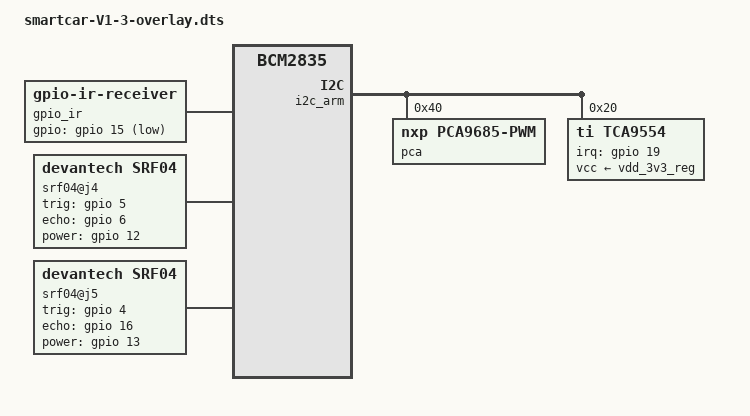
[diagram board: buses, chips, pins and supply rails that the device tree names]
// Definitions for Smart Car V1.2 Module
/dts-v1/;
/plugin/;

/ {
	compatible = "brcm,bcm2835";

	fragment@0 {
		target = <&gpio>;
		__overlay__ {
			status = "okay"; /* device is enabled */
			gpio_ultrasonic_pins_j4: gpio_ultrasonic_pins_j4 {
				brcm,pins = <5 12 6>;
				brcm,function = <1 1 0>; /* 0:in, 1:out */
				brcm,pull = <0 0 1>; // 2:up 1:down 0:none
			};
			gpio_ultrasonic_pins_j5: gpio_ultrasonic_pins_j5 {
				brcm,pins = <4 13 16>;
				brcm,function = <1 1 0>; /* 0:in, 1:out */
				brcm,pull = <0 0 1>; // 2:up 1:down 0:none
			};
			gpio_driver_pins: gpio_driver_pins {
				brcm,pins = <23 27>;
				brcm,function = <1 1>; /* 0:in, 1:out */
				brcm,pull = <0 0>; // 2:up 1:down 0:none
			};
			gpio_ir_pins: gpio_ir_pins {
				brcm,pins = <15>;
				brcm,function = <0>; /* 0:in, 1:out */
				brcm,pull = <0>; // 2:up 1:down 0:none
			};
		};
	};

	fragment@1 {
		target = <&i2c_arm>;
		__overlay__ {
			#address-cells = <1>;
			#size-cells = <0>;
			status = "okay";

			pca: pca@40 {
				// https://github.com/raspberrypi/linux File: pwm-pca9685
				compatible = "nxp,pca9685-pwm"; //PCA9685PW
				#pwm-cells = <2>;
				reg = <0x40>;
				status = "okay";
			};
			tca9554: tca9554@20 {
				// https://github.com/raspberrypi/linux File: gpio-pca953x
				compatible = "ti,tca9554";
				reg = <0x20>;
				interrupt-parent = <&gpio>;
				interrupts = <19 8>;	/* IRQ_TYPE_LEVEL_LOW */
				vcc-supply = <&vdd_3v3_reg>;
				gpio-controller;
				#gpio-cells = <2>;
				gpio-line-names =
				"null", "eins", "zwei", "drei", "vier", "fuenf", "sechs", "sieben";
				status = "okay";
			};
		};
	};
	
	fragment@2 {
		target-path = "/";
		__overlay__ {
			gpio_ir: ir-receiver {
				// https://github.com/raspberrypi/linux File: gpio-ir-recv.c
				compatible = "gpio-ir-receiver";
				gpios = <&gpio 15 1>;
				// linux,rc-map-name = "rc-rc6-mce";
				status = "okay";
			};
		};
	};

	fragment@3 {
		target-path = "/";
		__overlay__ {
			srf04@j4 {
				// https://github.com/raspberrypi/linux File: srf04.c
				compatible = "devantech,srf04";
				pinctrl-names = "default";
				pinctrl-0 = <&gpio_ultrasonic_pins_j4>;
				trig-gpios = <&gpio 5 0>;
				echo-gpios = <&gpio 6 0>;
				power-gpios = <&gpio 12 0>;
				startup-time-ms = <150>;
				status = "okay";
			};
		};
	};

	fragment@4 {
		target-path = "/";
		__overlay__ {
			srf04@j5 {
				// https://github.com/raspberrypi/linux File: srf04.c
				compatible = "devantech,srf04";
				pinctrl-names = "default";
				pinctrl-0 = <&gpio_ultrasonic_pins_j5>;
				trig-gpios = <&gpio 4 0>;
				echo-gpios = <&gpio 16 0>;
				power-gpios = <&gpio 13 0>;
				startup-time-ms = <150>;
				status = "okay";
			};
		};
	};
};
